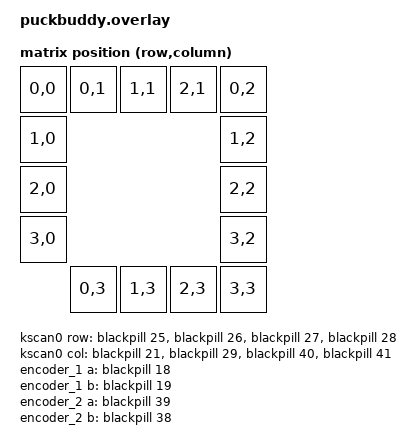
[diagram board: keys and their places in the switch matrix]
/*
 * Copyright (c) 2022 The ZMK Contributors
 *
 * SPDX-License-Identifier: MIT
 */

#include <dt-bindings/zmk/matrix_transform.h>

/ {
    chosen {
        zmk,kscan = &kscan0;
        zmk,matrix_transform = &default_transform;
    };

    kscan0: kscan {
        compatible = "zmk,kscan-gpio-matrix";
        label = "KSCAN";

        diode-direction = "col2row";
        row-gpios
            = <&blackpill 25 (GPIO_ACTIVE_HIGH | GPIO_PULL_DOWN)>
            , <&blackpill 26 (GPIO_ACTIVE_HIGH | GPIO_PULL_DOWN)>
            , <&blackpill 27 (GPIO_ACTIVE_HIGH | GPIO_PULL_DOWN)>
            , <&blackpill 28 (GPIO_ACTIVE_HIGH | GPIO_PULL_DOWN)>
            ;
        col-gpios
            = <&blackpill 21 GPIO_ACTIVE_HIGH>
            , <&blackpill 29 GPIO_ACTIVE_HIGH>
            , <&blackpill 40 GPIO_ACTIVE_HIGH>
            , <&blackpill 41 GPIO_ACTIVE_HIGH>
            ;
    };

    default_transform: keymap_transform_0 {
        compatible = "zmk,matrix-transform";
        columns = <12>;
        rows = <4>;
        map = <
            RC(0,0) RC(0,1) RC(1,1) RC(2,1)         RC(0,2)
            RC(1,0)                                 RC(1,2)
            RC(2,0)                                 RC(2,2)
            RC(3,0)                                 RC(3,2)
                    RC(0,3) RC(1,3) RC(2,3) RC(3,3)
        >;
    };

    encoder_1: encoder_1 {
        compatible = "alps,ec11";
        label = "Encoder 1";
        a-gpios = <&blackpill 18 (GPIO_ACTIVE_LOW | GPIO_PULL_UP)>;
        b-gpios = <&blackpill 19 (GPIO_ACTIVE_LOW | GPIO_PULL_UP)>;
        resolution = <4>;
        status = "disabled";
    };

    encoder_2: encoder_2 {
        compatible = "alps,ec11";
        label = "Encoder 2";
        a-gpios = <&blackpill 39 (GPIO_ACTIVE_LOW | GPIO_PULL_UP)>;
        b-gpios = <&blackpill 38 (GPIO_ACTIVE_LOW | GPIO_PULL_UP)>;
        resolution = <4>;
        status = "disabled";
    };

};
